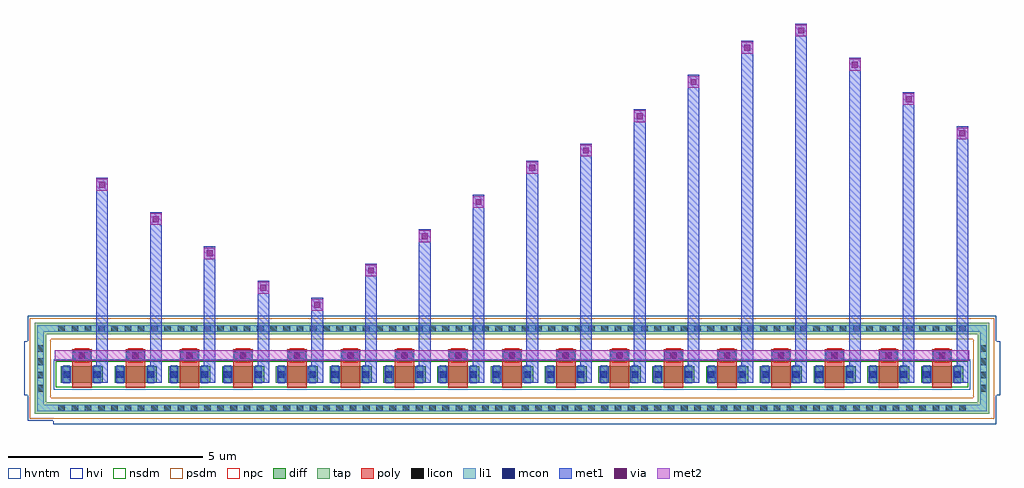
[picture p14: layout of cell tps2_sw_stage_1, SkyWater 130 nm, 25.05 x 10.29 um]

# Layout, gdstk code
import gdstk
lib = gdstk.Library(unit=1e-6, precision=1e-09)
def R(c, l, rs):  # rectangles x0, y0, x1, y1
    for r in rs: c.add(gdstk.rectangle(r[:2], r[2:], *l))
def A(c, l, x, y, w, h, nx, ny, dx, dy):  # array of equal rectangles
    R(c, l, [(x+i*dx, y+j*dy, x+i*dx+w, y+j*dy+h) for i in range(nx) for j in range(ny)])
diff = (65, 20)
tap = (65, 44)
poly = (66, 20)
licon = (66, 44)
li1 = (67, 20)
mcon = (67, 44)
met1 = (68, 20)
via = (68, 44)
met2 = (69, 20)
hvi = (75, 20)
nsdm = (93, 44)
psdm = (94, 20)
npc = (95, 20)
hvntm = (125, 20)

sky130_fd_pr__nfet_g5v0d = lib.new_cell('sky130_fd_pr__nfet_g5v0d10v5_NQHLCX')
R(sky130_fd_pr__nfet_g5v0d, diff, [(-0.54,-0.365,0.54,0.055)])
R(sky130_fd_pr__nfet_g5v0d, poly, [(-0.25,-0.495,0.25,0.495)])
R(sky130_fd_pr__nfet_g5v0d, licon, [(-0.48,-0.24,-0.31,-0.07), (0.31,-0.24,0.48,-0.07), (-0.085,0.245,0.085,0.415)])
R(sky130_fd_pr__nfet_g5v0d, li1, [(-0.48,-0.385,-0.31,0.075), (0.31,-0.385,0.48,0.075), (-0.25,0.245,0.25,0.415)])
R(sky130_fd_pr__nfet_g5v0d, mcon, [(-0.48,-0.24,-0.31,-0.07), (0.31,-0.24,0.48,-0.07), (-0.085,0.245,0.085,0.415)])
R(sky130_fd_pr__nfet_g5v0d, met1, [(-0.51,-0.365,-0.28,0.055), (0.28,-0.365,0.51,0.055), (-0.23,0.215,0.23,0.445)])
R(sky130_fd_pr__nfet_g5v0d, hvi, [(-0.725,-0.575,0.725,0.265)])
R(sky130_fd_pr__nfet_g5v0d, nsdm, [(-0.665,-0.49,0.665,0.18)])
R(sky130_fd_pr__nfet_g5v0d, npc, [(-0.185,0.145,0.185,0.515)])
R(sky130_fd_pr__nfet_g5v0d, hvntm, [(-0.725,-0.55,0.725,0.24)])

hnmos_1 = lib.new_cell('hnmos_1')
R(hnmos_1, met1, [(0.325,0.71,0.645,0.97)])
R(hnmos_1, via, [(0.41,0.765,0.56,0.915)])
R(hnmos_1, met2, [(-0.205,0.71,1.175,0.97)])
hnmos_1.add(gdstk.Reference(sky130_fd_pr__nfet_g5v0d, (0.485,0.51)))

hnmos_2 = lib.new_cell('hnmos_2')
R(hnmos_2, nsdm, [(1.335,0.01,1.385,0.68)])
hnmos_2.add(gdstk.Reference(hnmos_1, (1.565,-0.01)))
hnmos_2.add(gdstk.Reference(hnmos_1, (0.185,-0.01)))

hnmos_4 = lib.new_cell('hnmos_4')
R(hnmos_4, nsdm, [(2.695,0.005,2.745,0.675)])
hnmos_4.add(gdstk.Reference(hnmos_2, (2.74,-0.005)))
hnmos_4.add(gdstk.Reference(hnmos_2, (-0.02,-0.005)))

tps2_sw_stage_1 = lib.new_cell('tps2_sw_stage_1')
R(tps2_sw_stage_1, tap, [(-0.665,-0.685,23.835,-0.395), (-0.665,-0.395,-0.375,1.355), (23.545,-0.395,23.835,1.355), (-0.665,1.355,23.835,1.645)])
A(tps2_sw_stage_1, licon, -0.06, -0.625, 0.17, 0.17, 69, 2, 0.34, 2.04)
A(tps2_sw_stage_1, licon, -0.605, -0.115, 0.17, 0.17, 1, 4, 0, 0.34)
A(tps2_sw_stage_1, licon, 23.605, -0.115, 0.17, 0.17, 1, 4, 0, 0.34)
R(tps2_sw_stage_1, li1, [(-0.605,-0.625,23.775,-0.455), (-0.605,-0.455,-0.435,1.415), (23.605,-0.455,23.775,1.415), (-0.605,1.415,23.775,1.585)])
R(tps2_sw_stage_1, met1, [(0.915,0.115,1.215,5.37), (2.295,0.115,2.595,4.49), (3.675,0.115,3.975,3.61), (5.055,0.115,5.355,2.73), (6.435,0.115,6.735,2.29), (7.815,0.115,8.115,3.17), (9.195,0.115,9.495,4.05), (10.575,0.115,10.875,4.93), (11.955,0.115,12.255,5.81), (13.335,0.115,13.635,6.25), (14.715,0.115,15.015,7.13), (16.095,0.115,16.395,8.01), (17.475,0.115,17.775,8.89), (18.855,0.115,19.155,9.33), (20.235,0.115,20.535,8.45), (21.615,0.115,21.915,7.57), (22.995,0.115,23.295,6.69)])
R(tps2_sw_stage_1, via, [(6.51,2.035,6.66,2.185), (5.13,2.475,5.28,2.625), (7.89,2.915,8.04,3.065), (3.75,3.355,3.9,3.505), (9.27,3.795,9.42,3.945), (2.37,4.235,2.52,4.385), (10.65,4.675,10.8,4.825), (0.99,5.115,1.14,5.265), (12.03,5.555,12.18,5.705), (13.41,5.995,13.56,6.145), (23.07,6.435,23.22,6.585), (14.79,6.875,14.94,7.025), (21.69,7.315,21.84,7.465), (16.17,7.755,16.32,7.905), (20.31,8.195,20.46,8.345), (17.55,8.635,17.7,8.785), (18.93,9.075,19.08,9.225)])
R(tps2_sw_stage_1, met2, [(6.435,1.96,6.735,2.26), (5.055,2.4,5.355,2.7), (7.815,2.84,8.115,3.14), (3.675,3.28,3.975,3.58), (9.195,3.72,9.495,4.02), (2.295,4.16,2.595,4.46), (10.575,4.6,10.875,4.9), (0.915,5.04,1.215,5.34), (11.955,5.48,12.255,5.78), (13.335,5.92,13.635,6.22), (22.995,6.36,23.295,6.66), (14.715,6.8,15.015,7.1), (21.615,7.24,21.915,7.54), (16.095,7.68,16.395,7.98), (20.235,8.12,20.535,8.42), (17.475,8.56,17.775,8.86), (18.855,9,19.155,9.3)])
R(tps2_sw_stage_1, hvi, [(-0.19,-0.96,24.02,-0.87), (-0.85,-0.87,24.02,-0.21), (-0.94,-0.21,24.11,-0.095), (-0.94,-0.095,-0.1,0.745), (23.27,-0.095,24.11,0.745), (-0.94,0.745,24.11,1.17), (-0.85,1.17,24.02,1.83)])
A(tps2_sw_stage_1, nsdm, 5.35, -0.01, 0.05, 0.67, 4, 1, 5.52, 0)
R(tps2_sw_stage_1, psdm, [(-0.79,-0.81,23.96,-0.27), (-0.79,-0.27,-0.25,1.23), (23.42,-0.27,23.96,1.23), (-0.79,1.23,23.96,1.77)])
tps2_sw_stage_1.add(gdstk.Reference(hnmos_4, (16.455,-0.015)))
tps2_sw_stage_1.add(gdstk.Reference(hnmos_4, (10.935,-0.015)))
tps2_sw_stage_1.add(gdstk.Reference(hnmos_4, (5.415,-0.015)))
tps2_sw_stage_1.add(gdstk.Reference(hnmos_4, (-0.105,-0.015)))
tps2_sw_stage_1.add(gdstk.Reference(hnmos_1, (22.14,-0.03)))

lib.write_gds('tps2_sw_stage_1.gds')
